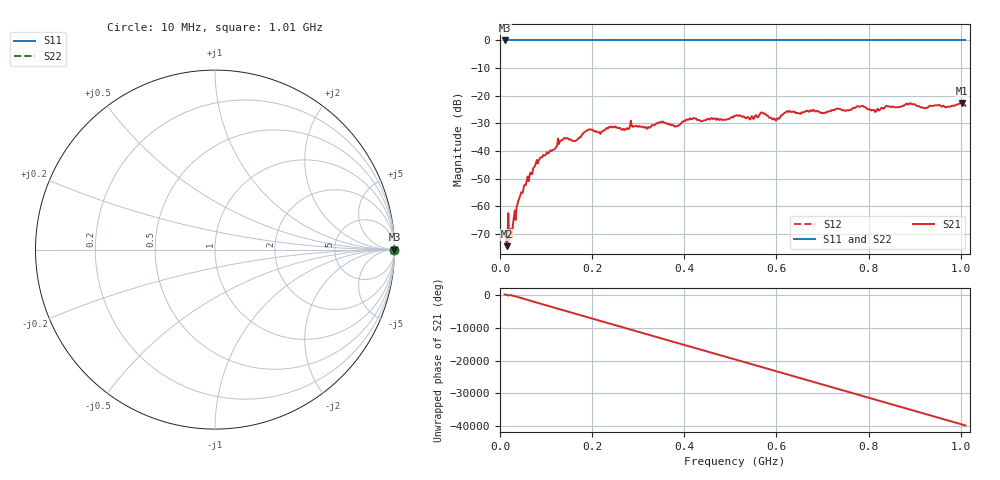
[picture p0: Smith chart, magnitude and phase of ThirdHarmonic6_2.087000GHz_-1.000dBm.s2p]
! 8/17/2025 12:59:08 AM
! C:\ANRITSUVNA\TEMP\TEMP.S2P
! CHANNEL.1
! TR.MEASUREMENT
! RAW.DATA
! RF.CORRECTION.OFF
! AVERAGING.OFF
! IF.BANDWIDTH: 5KHZ
! SWEEPTYPE:  FREQ.SWEEP(Linear)
! Reference Plane Port Info
! PORT:  PORT1  PORT2
! DISTANCE:  0  m  0  m
! TIME:  0  s  0  s
! PHASE.OFFSET:  0  deg.  0  deg.
! LOSS:  0  dB  0  dB
! REF.LOSS:  0  dB  0  dB
! REF.FREQ:  0  Hz  0  Hz
! Power Info
! POWER:  -20  dBm  -20  dBm
! EFF.POWER:  -20  dBm  -20  dBm
! SOURCE.ATTEN:  0  dB  0  dB
! TEST.ATTEN:  0  dB  0  dB
# GHZ S RI R 50.0
! FREQ.GHZ  S11RE  S11IM  S21RE  S21IM  S12RE  S12IM  S22RE  S22IM
!; PortSelection: Port_12
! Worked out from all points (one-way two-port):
!   501 points, 10 MHz to 1.01 GHz, reference 50 ohm
!   highest |S21| = -22.56 dB at 1.002 GHz (marker M1); lowest = -74.4 dB at 16 MHz (marker M2)
!   lowest |S11| = 0.0 dB at 10 MHz (marker M3)
!   |S11| at or under -10 dB: nowhere
!   |S22| runs from 0.0 to 0.0 dB; largest |S21 - S12| = 1.1
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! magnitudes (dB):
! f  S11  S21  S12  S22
! 10 MHz  0.0  -70.6  0.0  0.0
! 16 MHz  0.0  -74.4  0.0  0.0
! 24 MHz  0.0  -68.1  0.0  0.0
! 42 MHz  0.0  -57.0  0.0  0.0
! 82 MHz  0.0  -44.5  0.0  0.0
! 130 MHz  0.0  -36.5  0.0  0.0
! 162 MHz  0.0  -36.4  0.0  0.0
! 178 MHz  0.0  -34.0  0.0  0.0
! 196 MHz  0.0  -32.2  0.0  0.0
! 322 MHz  0.0  -31.3  0.0  0.0
! 344 MHz  0.0  -29.9  0.0  0.0
! 382 MHz  0.0  -31.0  0.0  0.0
! 416 MHz  0.0  -28.5  0.0  0.0
! 510 MHz  0.0  -27.3  0.0  0.0
! 546 MHz  0.0  -27.4  0.0  0.0
! 570 MHz  0.0  -26.2  0.0  0.0
! 596 MHz  0.0  -28.3  0.0  0.0
! 624 MHz  0.0  -25.6  0.0  0.0
! 678 MHz  0.0  -25.6  0.0  0.0
! 844 MHz  0.0  -23.8  0.0  0.0
! 1.002 GHz  0.0  -22.6  0.0  0.0
! 1.01 GHz  0.0  -23.6  0.0  0.0
